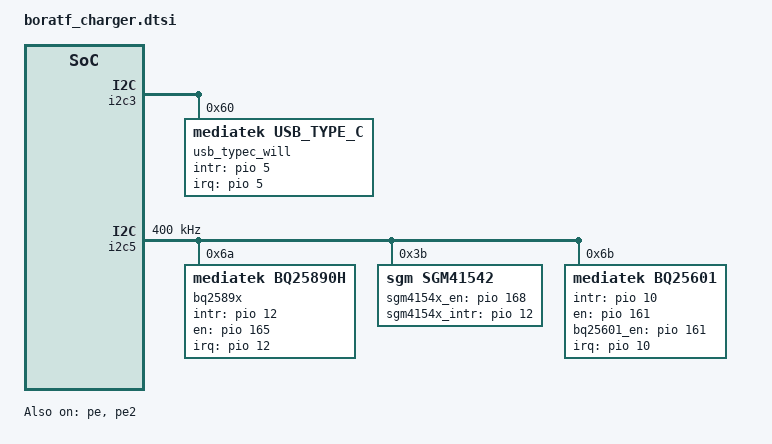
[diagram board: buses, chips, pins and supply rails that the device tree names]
// SPDX-License-Identifier: GPL-2.0+

&pe {
	status = "okay";
	ta_9v_support;
	pe_ichg_level_threshold = <1000000>; /* uA */
	ta_ac_12v_input_current = <1300000>;
	ta_ac_9v_input_current = <1600000>;
	ta_ac_7v_input_current = <2100000>;
	pe_charger_current = <3000000>;  // max 15W as PE ta support
	main_pct = <100>;
	ta_stop_battery_soc = <80>;
};

&pe2 {
	status = "okay";
	sc_input_current = <1600000>;
	sc_charger_current = <3000000>;
	dcs_input_current = <2050000>;
	dcs_chg1_charger_current = <1750000>;
	dcs_chg2_charger_current = <1750000>;
	main_pct = <50>;
	ta_stop_battery_soc = <80>;
};

&pe4 {
	status = "disabled";
};

&pdc {
	status = "disabled";
};

&mtk_charger_type {
	bc12_active = <1>;
};

&usb {
	charger = <&mtk_charger_type>;
};

&u2port0 {
	mediatek,eye-vrt = <7>;
	mediatek,eye-term = <7>;
	mediatek,eye-rev6 = <3>; /* 0~3 */
};

&extcon_usb {
	charger = <&mtk_charger_type>;
	vbus-supply;
};

&lk_charger {
	enable_anime;
	power_path_support;
	max_charger_voltage = <10500000>;
	fast_charge_voltage = <2900000>;

	/* charging current */
	usb_charger_current = <500000>;
	ac_charger_current = <1000000>;
	ac_charger_input_current = <1050000>;
	non_std_ac_charger_current = <500000>;
	charging_host_charger_current = <500000>;

	led_brightness = <127>;
	blinking_times = <6>;
	blinking_period = <1500>;
	temp_t4_threshold = <55>;
	temp_t3_threshold = <45>;
	temp_t1_threshold = <10>;
	temp_t0_threshold = <1>;
};

&charger {
	charger = <&mtk_charger_type>;
	//charger_configuration= <0>;
	charger_configuration= <2>;
	/delete-property/enable_pe_3;
	/delete-property/enable_pe_4;
	/delete-property/enable_type_c;
	enable_dynamic_mivr;
	ac_charger_current = <2000000>;
	ac_charger_input_current = <2050000>;
	charging_host_charger_current = <1300000>;
	battery_cv = <4400000>;
	enable_hv_charging;
	max_charger_voltage = <10500000>;
	enable_sw_jeita;
	/* sw jeita */
	jeita_temp_above_t4_cv = <4100000>;
	jeita_temp_t3_to_t4_cv = <4100000>;
	jeita_temp_t2_to_t3_cv = <4390000>;
	jeita_temp_t1_to_t2_cv = <4390000>;
	jeita_temp_t0_to_t1_cv = <4390000>;
	jeita_temp_below_t0_cv = <4400000>;
	jeita_temp_above_t4_current = <0>;
	jeita_temp_t3_to_t4_current = <2200000>;
	jeita_temp_t2_to_t3_current = <3500000>;
	jeita_temp_t1_to_t2_current = <800000>;
	jeita_temp_t0_to_t1_current = <800000>;
	jeita_temp_below_t0_current = <0>;

#if defined(TARGET_BUILD_IEEE1725)
	temp_t4_thres = <53>;
#else
	temp_t4_thres = <55>;
#endif
	temp_t4_thres_minus_x_degree = <51>;
	temp_t3_thres = <42>;
	temp_t3_thres_minus_x_degree = <43>;
	temp_t2_thres = <11>;
	temp_t2_thres_plus_x_degree = <10>;
	temp_t1_thres = <6>;
	temp_t1_thres_plus_x_degree = <5>;
#if defined(TARGET_BUILD_IEEE1725)
	temp_t0_thres = <5>;
	temp_t0_thres_plus_x_degree = <3>;
	temp_neg_10_thres = <5>;
#else
	temp_t0_thres = <1>;
	temp_t0_thres_plus_x_degree = <0>;
	temp_neg_10_thres = <1>;
#endif

	enable_min_charge_temp;
#if defined(TARGET_BUILD_IEEE1725)
	min_charge_temp = <3>;
	min_charge_temp_plus_x_degree = <5>;
	max_charge_temp = <53>;
#else
	min_charge_temp = <1>;
	min_charge_temp_plus_x_degree = <1>;
	max_charge_temp = <55>;
#endif
	max_charge_temp_minus_x_degree = <51>;

	enable_step_chg;
	step_chg_vbat = <4300000>;
	step_chg_vbat_hysteresis = <70000>;
	setp_chg_current = <3100000>;
};

&mt6370_pmu {
	status = "disabled";
};

&i2c3 {
	usb_typec_will:usb_type_c@60 {
		compatible = "mediatek,usb_type_c";
		reg = <0x60>;
		interrupt-parent = <&pio>;
		interrupts = <5 0>;
		wusb3801,intr_gpio = <&pio 5 0x0>;
		interrupt-names = "wusb3801_int_irq";
		status = "okay";
	};
};

&i2c5 {
	#address-cells = <1>;
	#size-cells = <0>;
	clock-frequency = <400000>;
	status = "okay";

	bq2589x:bq2589x@6A {
		compatible = "mediatek,bq25890h";
		reg = <0x6A>;
		interrupt-parent = <&pio>;
		interrupts = <12 IRQ_TYPE_EDGE_FALLING>;
		charger_name = "primary_chg";
		/*ti,bq2589x,charge-detect-enable;*/
		ti,bq2589x,usb-vlim = <4600>;
		ti,bq2589x,usb-ilim = <500>;
		ti,bq2589x,usb-vreg = <4400>;
		ti,bq2589x,usb-ichg = <500>;
		ti,bq2589x,precharge-current = <256>;
		ti,bq2589x,termination-current = <60>;
		ti,bq2589x,boost-voltage = <4998>;
		ti,bq2589x,boost-current = <1200>;
		ti,bq2589x,enable_term;
		ti,bq2589x,stat-pin-ctrl = <3>;
		ti,bq2589x,vac-ovp-threshold = <6500>;
		bq2589x,intr_gpio =  <&pio 12 0x0>;
		bq2589x,en_gpio =  <&pio 165 0x0>;
		status = "okay";
	};

	sgm41542: sgm41542@3B {
		compatible = "sgm,sgm41542";
		reg = <0x3b>;
		status = "okay";
		charger_name = "primary_chg";
		gpio_sgm4154x_en_num = <168>;
		gpio_sgm4154x_en = <&pio 168 0x0>;
		gpio_sgm4154x_intr_num = <12>; /* direct defined GPIO num */
		gpio_sgm4154x_intr = <&pio 12 0x0>;
		interrupt-names = "sgm41542_intr";
	};

	bq25601:bq25601@6B {
		compatible = "mediatek,bq25601";
		reg = <0x6B>;
		charger_name = "secondary_chg";
		alias_name = "bq25601";
		interrupt-parent = <&pio>;
		interrupts = <10 0>;
		bq25601,intr_gpio = <&pio 10 0x0>;
		bq25601,en_gpio = <&pio 161 0x0>;
		gpio_bq25601_en = <&pio 161 0x0>;
		gpio_bq25601_en_num = <161>;
		status = "okay";
	};
};
